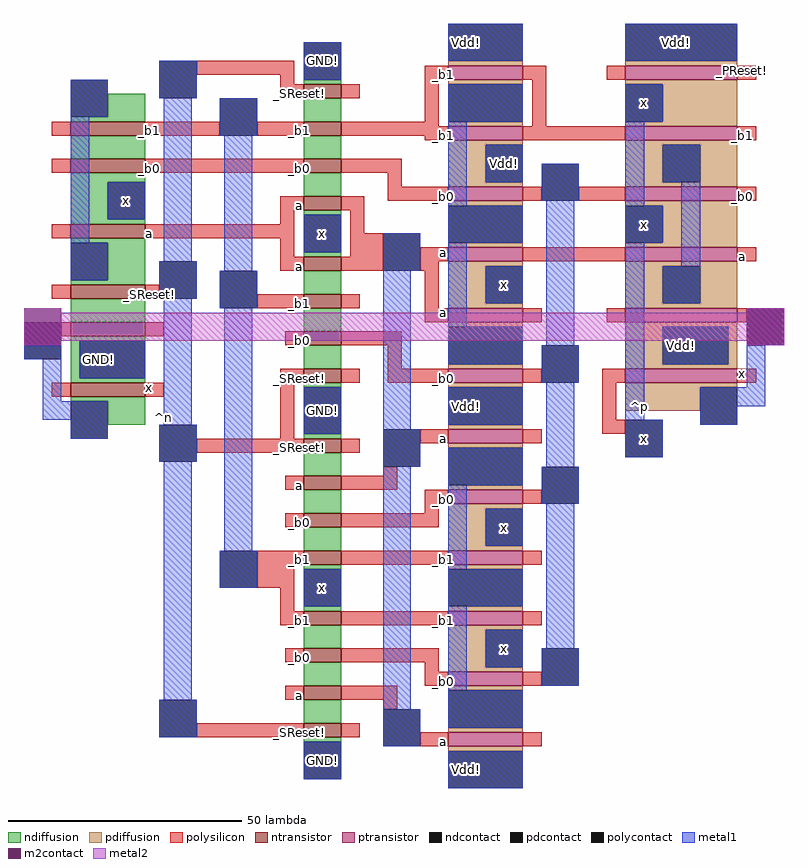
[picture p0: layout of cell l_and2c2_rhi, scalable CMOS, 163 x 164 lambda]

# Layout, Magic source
magic
tech scmos
<< ndiffusion >>
rect 98 144 106 149
rect 140 151 148 152
rect 90 143 106 144
rect 140 143 148 148
rect 90 135 106 140
rect 140 135 148 140
rect 90 130 106 132
rect 90 122 98 130
rect 140 127 148 132
rect 90 121 106 122
rect 90 117 106 118
rect 98 109 106 117
rect 140 123 148 124
rect 140 114 148 115
rect 90 108 106 109
rect 90 100 106 105
rect 140 106 148 111
rect 140 98 148 103
rect 90 96 106 97
rect 90 88 92 96
rect 140 90 148 95
rect 90 87 106 88
rect 90 83 106 84
rect 98 78 106 83
rect 140 86 148 87
rect 140 75 148 76
rect 140 67 148 72
rect 140 59 148 64
rect 140 51 148 56
rect 140 47 148 48
rect 140 38 148 39
rect 140 30 148 35
rect 140 22 148 27
rect 140 14 148 19
rect 140 10 148 11
<< pdiffusion >>
rect 171 155 187 156
rect 209 155 233 156
rect 171 151 187 152
rect 171 142 187 143
rect 209 151 233 152
rect 217 143 233 151
rect 209 142 233 143
rect 171 138 187 139
rect 171 130 179 138
rect 209 138 233 139
rect 171 129 187 130
rect 209 130 217 138
rect 225 130 233 138
rect 209 129 233 130
rect 171 125 187 126
rect 171 116 187 117
rect 209 125 233 126
rect 217 117 233 125
rect 209 116 233 117
rect 171 112 187 113
rect 171 104 179 112
rect 171 103 187 104
rect 209 112 233 113
rect 209 104 217 112
rect 225 104 233 112
rect 209 103 233 104
rect 171 99 187 100
rect 209 99 233 100
rect 171 90 187 91
rect 209 91 217 99
rect 231 91 233 99
rect 209 90 233 91
rect 171 86 187 87
rect 171 77 187 78
rect 209 86 233 87
rect 209 81 225 86
rect 171 73 187 74
rect 171 64 187 65
rect 171 60 187 61
rect 171 52 179 60
rect 171 51 187 52
rect 171 47 187 48
rect 171 38 187 39
rect 171 34 187 35
rect 171 26 179 34
rect 171 25 187 26
rect 171 21 187 22
rect 171 12 187 13
rect 171 8 187 9
<< ntransistor >>
rect 140 148 148 151
rect 90 140 106 143
rect 140 140 148 143
rect 90 132 106 135
rect 140 132 148 135
rect 140 124 148 127
rect 90 118 106 121
rect 90 105 106 108
rect 140 111 148 114
rect 140 103 148 106
rect 90 97 106 100
rect 140 95 148 98
rect 140 87 148 90
rect 90 84 106 87
rect 140 72 148 75
rect 140 64 148 67
rect 140 56 148 59
rect 140 48 148 51
rect 140 35 148 38
rect 140 27 148 30
rect 140 19 148 22
rect 140 11 148 14
<< ptransistor >>
rect 171 152 187 155
rect 209 152 233 155
rect 171 139 187 142
rect 209 139 233 142
rect 171 126 187 129
rect 209 126 233 129
rect 171 113 187 116
rect 209 113 233 116
rect 171 100 187 103
rect 209 100 233 103
rect 171 87 187 90
rect 209 87 233 90
rect 171 74 187 77
rect 171 61 187 64
rect 171 48 187 51
rect 171 35 187 38
rect 171 22 187 25
rect 171 9 187 12
<< polysilicon >>
rect 117 153 138 156
rect 135 151 138 153
rect 166 152 171 155
rect 187 152 192 155
rect 205 152 209 155
rect 233 152 237 155
rect 135 148 140 151
rect 148 148 152 151
rect 86 140 90 143
rect 106 140 122 143
rect 166 143 169 152
rect 130 140 140 143
rect 148 142 169 143
rect 189 142 192 152
rect 148 140 171 142
rect 166 139 171 140
rect 187 139 209 142
rect 233 139 237 142
rect 86 132 90 135
rect 106 132 140 135
rect 148 132 161 135
rect 158 129 161 132
rect 135 124 140 127
rect 148 124 153 127
rect 158 126 171 129
rect 187 126 191 129
rect 199 126 209 129
rect 233 126 237 129
rect 135 121 138 124
rect 86 118 90 121
rect 106 118 138 121
rect 135 114 138 118
rect 150 119 153 124
rect 150 114 157 119
rect 86 105 90 108
rect 106 105 109 108
rect 135 111 140 114
rect 148 111 157 114
rect 165 113 171 116
rect 187 113 209 116
rect 233 113 237 116
rect 165 111 169 113
rect 130 103 140 106
rect 148 103 152 106
rect 166 103 169 111
rect 88 97 90 100
rect 106 97 110 100
rect 166 100 171 103
rect 187 100 191 103
rect 205 100 209 103
rect 233 100 235 103
rect 136 95 140 98
rect 148 95 161 98
rect 158 90 161 95
rect 135 87 140 90
rect 148 87 152 90
rect 158 87 171 90
rect 187 87 191 90
rect 204 87 209 90
rect 233 87 237 90
rect 86 84 90 87
rect 106 84 110 87
rect 135 75 138 87
rect 204 79 207 87
rect 117 72 140 75
rect 148 72 152 75
rect 165 74 171 77
rect 187 74 191 77
rect 204 76 209 79
rect 157 67 160 69
rect 136 64 140 67
rect 148 64 160 67
rect 166 61 171 64
rect 187 61 191 64
rect 166 59 169 61
rect 136 56 140 59
rect 148 56 169 59
rect 130 48 140 51
rect 148 48 171 51
rect 187 48 191 51
rect 130 43 138 48
rect 135 38 138 43
rect 135 35 140 38
rect 148 35 171 38
rect 187 35 191 38
rect 136 27 140 30
rect 148 27 169 30
rect 166 25 169 27
rect 166 22 171 25
rect 187 22 191 25
rect 136 19 140 22
rect 148 19 160 22
rect 157 17 160 19
rect 117 11 140 14
rect 148 11 152 14
rect 165 9 171 12
rect 187 9 191 12
<< ndcontact >>
rect 90 144 98 152
rect 140 152 148 160
rect 98 122 106 130
rect 90 109 98 117
rect 140 115 148 123
rect 92 88 106 96
rect 90 75 98 83
rect 140 76 148 86
rect 140 39 148 47
rect 140 2 148 10
<< pdcontact >>
rect 171 156 187 164
rect 209 156 233 164
rect 171 143 187 151
rect 209 143 217 151
rect 179 130 187 138
rect 217 130 225 138
rect 171 117 187 125
rect 209 117 217 125
rect 179 104 187 112
rect 217 104 225 112
rect 171 91 187 99
rect 217 91 231 99
rect 171 78 187 86
rect 171 65 187 73
rect 225 78 233 86
rect 179 52 187 60
rect 171 39 187 47
rect 179 26 187 34
rect 171 13 187 21
rect 171 0 187 8
<< polycontact >>
rect 109 148 117 156
rect 122 140 130 148
rect 191 126 199 134
rect 109 105 117 113
rect 157 111 165 119
rect 122 103 130 111
rect 80 92 88 100
rect 191 87 199 95
rect 235 95 243 103
rect 109 70 117 78
rect 157 69 165 77
rect 209 71 217 79
rect 191 61 199 69
rect 122 43 130 51
rect 191 22 199 30
rect 109 11 117 19
rect 157 9 165 17
<< metal1 >>
rect 90 144 98 152
rect 109 148 117 156
rect 140 152 148 160
rect 171 156 187 164
rect 209 156 233 164
rect 90 117 94 144
rect 98 122 106 130
rect 90 109 98 117
rect 110 113 116 148
rect 122 140 130 148
rect 171 143 187 151
rect 209 143 217 151
rect 109 105 117 113
rect 123 111 129 140
rect 171 125 175 143
rect 179 130 187 138
rect 191 126 199 134
rect 140 115 148 123
rect 157 111 165 119
rect 171 117 187 125
rect 80 92 88 95
rect 84 83 88 92
rect 92 88 106 96
rect 84 79 98 83
rect 90 75 98 79
rect 110 78 116 105
rect 122 103 130 111
rect 109 70 117 78
rect 110 19 116 70
rect 123 51 129 103
rect 140 76 148 86
rect 157 77 163 111
rect 171 99 175 117
rect 179 104 187 112
rect 171 91 187 99
rect 192 95 198 126
rect 209 125 213 143
rect 217 130 225 138
rect 209 117 217 125
rect 191 87 199 95
rect 171 78 187 86
rect 157 69 165 77
rect 122 43 130 51
rect 140 39 148 47
rect 109 11 117 19
rect 157 17 163 69
rect 171 65 187 73
rect 192 69 198 87
rect 209 79 213 117
rect 221 112 225 130
rect 217 104 225 112
rect 217 91 231 99
rect 235 86 239 95
rect 225 82 239 86
rect 209 71 217 79
rect 225 78 233 82
rect 171 47 175 65
rect 191 61 199 69
rect 179 52 187 60
rect 171 39 187 47
rect 171 21 175 39
rect 179 26 187 34
rect 192 30 198 61
rect 191 22 199 30
rect 140 2 148 10
rect 157 9 165 17
rect 171 13 187 21
rect 171 0 187 8
<< m2contact >>
rect 80 95 88 103
rect 235 95 243 103
<< metal2 >>
rect 80 102 88 103
rect 235 102 243 103
rect 80 96 243 102
rect 80 95 88 96
rect 235 95 243 96
<< labels >>
rlabel polysilicon 170 10 170 10 1 a
rlabel polysilicon 170 75 170 75 1 a
rlabel metal1 175 82 175 82 1 Vdd!
rlabel metal1 175 4 175 4 1 Vdd!
rlabel polysilicon 170 36 170 36 5 _b1
rlabel polysilicon 170 62 170 62 1 _b0
rlabel polysilicon 170 49 170 49 5 _b1
rlabel metal1 175 160 175 160 5 Vdd!
rlabel polysilicon 170 115 170 115 5 a
rlabel polysilicon 170 102 170 102 5 a
rlabel polysilicon 170 153 170 153 1 _b1
rlabel polysilicon 170 140 170 140 1 _b1
rlabel polysilicon 170 127 170 127 1 _b0
rlabel polysilicon 170 88 170 88 1 _b0
rlabel metal1 144 119 144 119 1 x
rlabel polysilicon 139 149 139 149 1 _SReset!
rlabel polysilicon 139 133 139 133 1 _b0
rlabel polysilicon 139 141 139 141 1 _b1
rlabel polysilicon 139 125 139 125 1 a
rlabel polysilicon 139 88 139 88 1 _SReset!
rlabel polysilicon 139 112 139 112 5 a
rlabel metal1 144 156 144 156 1 GND!
rlabel polysilicon 170 23 170 23 1 _b0
rlabel polysilicon 139 96 139 96 1 _b0
rlabel polysilicon 139 104 139 104 1 _b1
rlabel polysilicon 139 20 139 20 1 a
rlabel polysilicon 139 12 139 12 1 _SReset!
rlabel polysilicon 139 65 139 65 5 a
rlabel polysilicon 139 49 139 49 5 _b1
rlabel polysilicon 139 57 139 57 5 _b0
rlabel polysilicon 139 36 139 36 1 _b1
rlabel polysilicon 139 28 139 28 1 _b0
rlabel polysilicon 139 73 139 73 1 _SReset!
rlabel metal1 144 6 144 6 1 GND!
rlabel metal1 144 43 144 43 1 x
rlabel metal1 144 81 144 81 1 GND!
rlabel ndcontact 102 126 102 126 1 x
rlabel polysilicon 107 106 107 106 1 _SReset!
rlabel polysilicon 107 141 107 141 1 _b1
rlabel polysilicon 107 133 107 133 1 _b0
rlabel polysilicon 107 119 107 119 1 a
rlabel polysilicon 107 86 107 86 5 x
rlabel metal1 96 92 96 92 1 GND!
rlabel metal1 221 95 221 95 5 Vdd!
rlabel polysilicon 234 89 234 89 7 x
rlabel metal1 220 160 220 160 5 Vdd!
rlabel polysilicon 234 154 234 154 5 _PReset!
rlabel metal1 213 147 213 147 1 x
rlabel metal1 213 121 213 121 1 x
rlabel polysilicon 234 114 234 114 1 a
rlabel polysilicon 234 127 234 127 1 _b0
rlabel polysilicon 234 140 234 140 1 _b1
rlabel metal1 183 30 183 30 1 x
rlabel metal1 183 56 183 56 1 x
rlabel metal1 183 108 183 108 5 x
rlabel metal1 183 134 183 134 5 Vdd!
rlabel metal1 213 75 213 75 1 x
rlabel space 180 -1 244 165 3 ^p
rlabel space 79 -2 141 161 7 ^n
<< end >>
